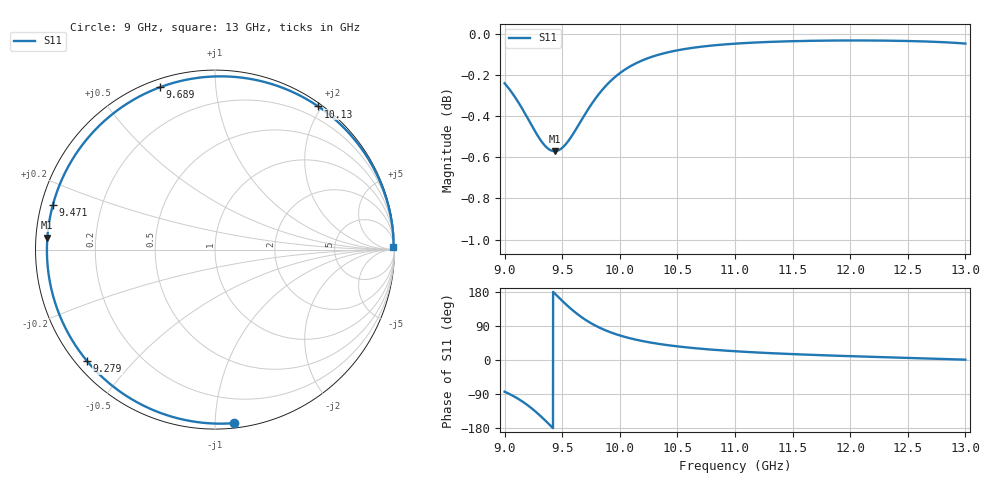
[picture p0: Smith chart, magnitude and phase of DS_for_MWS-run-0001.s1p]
! TOUCHSTONE file generated by CST DESIGN STUDIO
! Date and time: Tue Feb  4 16:21:41 2025
! Project name: C:\Work\MatlabApps\UnitCellOptimizationMatlab\CST\unitcell.cst
! Tree item: Tasks\Sweep1\SPara1\S-Parameters
! Header version: 2024
! Port assignment regex: !\s*Touchstone port\s*([0-9]+)\s*=\s*(CST MWS port|CST DES external port|CST DES block port)\s*(.+)\s* \(\"(.*)\"\)(\s*mode\s*([0-9]+))?.*
! Touchstone port assignment:
! Touchstone port 1 = CST DES external port 1 ("")
# GHz S MA R 50
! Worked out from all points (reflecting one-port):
!   4001 points, 9 GHz to 13 GHz, reference 50 ohm
!   lowest |S11| = -0.6 dB at 9.434 GHz (marker M1), VSWR 30.47, Z = 1.64 + j1.77 ohm
!   phase of S11 starts at -84 deg and turns -276 deg over the sweep
!   S11 on the Smith chart (normalised r, x): 9 GHz: 0.03, -1.12; 9.279 GHz: 0.03, -0.38; 9.471 GHz: 0.03, +0.13; 9.689 GHz: 0.03, +0.72; 10.13 GHz: 0.04, +1.95; 13 GHz: open
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9  0.9727 -83.6
9.084  0.9658 -96.4
9.154  0.9589 -109.5
9.218  0.9519 -123.5
9.279  0.9454 -138.8
9.322  0.9415 -150.7
9.361  0.9387 -162.0
9.398  0.937 -173.1
9.434  0.9365 175.9
9.471  0.937 164.7
9.5  0.9382 156.2
9.548  0.9414 142.5
9.594  0.9455 130.4
9.64  0.9501 119.3
9.689  0.9551 108.7
9.759  0.9619 95.5
9.842  0.9687 82.8
9.919  0.9739 73.1
10  0.9783 64.8
10.132  0.9834 54.2
10.298  0.9877 44.5
10.5  0.9909 36.0
10.723  0.993 29.2
11  0.9946 23.1
11.5  0.9959 15.5
12  0.9963 10.1
12.5  0.996 5.6
13  0.9946 0.9
